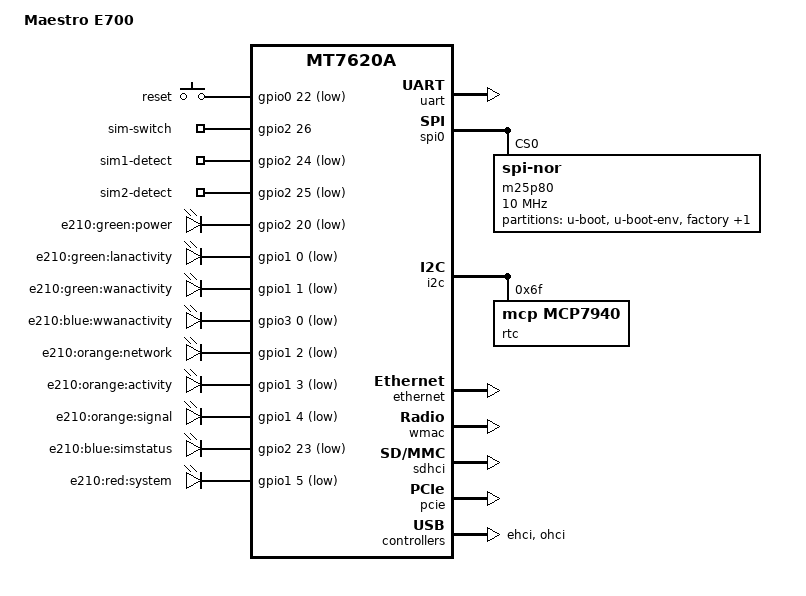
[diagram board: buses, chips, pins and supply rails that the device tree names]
/dts-v1/;

#include "mt7620a.dtsi"

#include <dt-bindings/input/input.h>

/ {
	compatible = "e700", "ralink,mt7620a-soc";
	model = "Maestro E700";

	uart {
		status = "okay";
	};

	gpio-keys-polled {
		compatible = "gpio-keys";
		#address-cells = <1>;
		#size-cells = <0>;
		poll-interval = <20>;

		reset {
			label = "reset";
			gpios = <&gpio0 22 1>;
			linux,code = <0x198>;
		};
	};

	gpio_export{
		compatible = "gpio-export";
		#size-cells = <0>;

		simswitch {
			gpio-export,name = "sim-switch";
			gpio-export,output = <0>;
			gpios = <&gpio2 26 0>;
		};

		sim1detect {
			gpio-export,name = "sim1-detect";
			gpios = <&gpio2 24 1>;
		};

		sim2detect {
			gpio-export,name = "sim2-detect";
			gpios = <&gpio2 25 1>;
		};

	};
	
	gpio-leds {
		compatible = "gpio-leds";
		power {
			label = "e210:green:power";
			gpios = <&gpio2 20 1>;
		};
		lanactivity {
			label = "e210:green:lanactivity";
			gpios = <&gpio1 0 1>;
		};
		wanactivity {
			label = "e210:green:wanactivity";
			gpios = <&gpio1 1 1>;
		};
		wwanactivity {
			label = "e210:blue:wwanactivity";
			gpios = <&gpio3 0 1>;
		};
		network {
			label = "e210:orange:network";
			gpios = <&gpio1 2 1>;
		};
		activity {
			label = "e210:orange:activity";
			gpios = <&gpio1 3 1>;
		};
		signal {
			label = "e210:orange:signal";
			gpios = <&gpio1 4 1>;
		};
		simstatus {
			label = "e210:blue:simstatus";
			gpios = <&gpio2 23 1>;
		};
		system {
			label = "e210:red:system";
			gpios = <&gpio1 5 1>;
		};
	};
};

&spi0 {
	status = "okay";

	m25p80@0 {
        #address-cells = <1>;
        #size-cells = <1>;
		compatible = "jedec,spi-nor";
		reg = <0>;
		spi-max-frequency = <10000000>;

	    partition@0 {
		    label = "u-boot";
		    reg = <0x0 0x30000>;
		    read-only;
	    };

	    partition@30000 {
		    label = "u-boot-env";
		    reg = <0x30000 0x10000>;
		    read-only;
	    };

	    factory: partition@40000 {
		    label = "factory";
		    reg = <0x40000 0x10000>;
		    read-only;
	    };

	    partition@50000 {
		    label = "firmware";
		    reg = <0x50000 0x3FB0000>;
	    };
	};
};

&gpio1 {
	status = "okay";
};
&gpio2 {
	status = "okay";
};
&gpio3 {
	status = "okay";
};
&pinctrl {
	state_default: pinctrl0 {
		gpio {
			ralink,group = "wled","rgmii1","rgmii2","mdio";
			ralink,function = "gpio";
		};
	};
};

&i2c {
	status = "okay";
	rtc@6f {
		compatible = "mcp,mcp7940";
		reg = <0x6f>;
	};

};

&ethernet {
	status = "okay";
	pinctrl-names = "default";
	mediatek,portmap = "llllw";
	mtd-mac-address = <&factory 0x28>;
};

&wmac {
	ralink,mtd-eeprom = <&factory 0>;
};
&sdhci {
	status = "okay";
};

&pcie {
	status = "okay";
};

&ehci {
	status = "okay";
};

&ohci {
	status = "okay";
};
